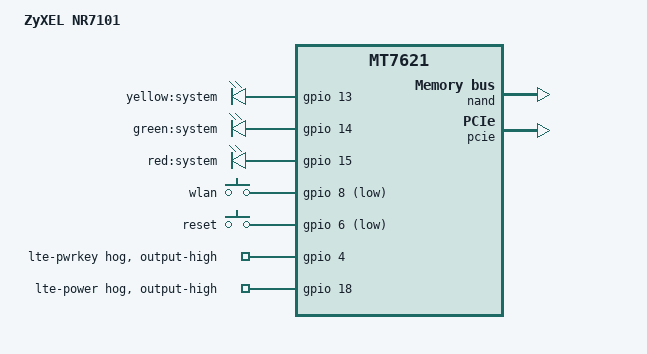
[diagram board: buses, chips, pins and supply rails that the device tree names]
// SPDX-License-Identifier: GPL-2.0-or-later OR MIT

#include "mt7621.dtsi"

#include <dt-bindings/gpio/gpio.h>
#include <dt-bindings/input/input.h>

/ {
	compatible = "zyxel,nr7101", "mediatek,mt7621-soc";
	model = "ZyXEL NR7101";

	aliases {
		led-boot = &led_system_green;
		led-failsafe = &led_system_green;
		led-running = &led_system_green;
		led-upgrade = &led_system_green;
		label-mac-device = &gmac0;
	};

	leds {
		compatible = "gpio-leds";

		system_yellow {
			label = "yellow:system";
			gpios = <&gpio 13 GPIO_ACTIVE_HIGH>;
		};

		led_system_green: system_green {
			label = "green:system";
			gpios = <&gpio 14 GPIO_ACTIVE_HIGH>;
		};

		system_red {
			label = "red:system";
			gpios = <&gpio 15 GPIO_ACTIVE_HIGH>;
		};
	};

	keys {
		compatible = "gpio-keys";

		wps {
			label = "wlan";
			gpios = <&gpio 8 GPIO_ACTIVE_LOW>;
			linux,code = <KEY_WLAN>;
		};

		reset {
			label = "reset";
			gpios = <&gpio 6 GPIO_ACTIVE_LOW>;
			linux,code = <KEY_RESTART>;
		};
	};
};

&gpio {
	lte_pwrkey {
		gpio-hog;
		gpios = <4 GPIO_ACTIVE_HIGH>;
		output-high;
		line-name = "lte-pwrkey";
	};

	lte_power {
		gpio-hog;
		gpios = <18 GPIO_ACTIVE_HIGH>;
		output-high;
		line-name = "lte-power";
	};
};

&nand {
	status = "okay";

	partitions {
		compatible = "fixed-partitions";
		#address-cells = <1>;
		#size-cells = <1>;

		partition@0 {
			label = "Bootloader";
			reg = <0x0 0x80000>;
			read-only;
		};

		partition@80000 {
			label = "Config";
			reg = <0x80000 0x80000>;
		};

		factory: partition@100000 {
			label = "Factory";
			reg = <0x100000 0x40000>;
			read-only;
		};

		partition@140000 {
			label = "Kernel";
			reg = <0x140000 0x1ec0000>;
		};

		partition@540000 {
			label = "ubi";
			reg = <0x540000 0x1ac0000>;
		};

		partition@2140000 {
			label = "Kernel2";
			reg = <0x2140000 0x1ec0000>;
		};

		partition@4000000 {
			label = "wwan";
			reg = <0x4000000 0x100000>;
		};

		partition@4100000 {
			label = "data";
			reg = <0x4100000 0x1000000>;
		};

		partition@5100000 {
			label = "rom-d";
			reg = <0x5100000 0x100000>;
			read-only;
		};

		partition@5200000 {
			label = "reserve";
			reg = <0x5200000 0x80000>;
		};
	};
};

&pcie {
	status = "okay";
};

&pcie0 {
	mt76@0,0 {
		reg = <0x0000 0 0 0 0>;
		mediatek,mtd-eeprom = <&factory 0x0>;
	};
};

&gmac0 {
	nvmem-cells = <&macaddr_factory_e000>;
	nvmem-cell-names = "mac-address";
};

&switch0 {
	ports {
		port@2 {
			status = "okay";
			label = "lan";
		};
	};
};

&state_default {
	gpio {
		groups = "i2c", "uart3", "jtag", "wdt";
		function = "gpio";
	};
};

&factory {
	compatible = "nvmem-cells";
	#address-cells = <1>;
	#size-cells = <1>;

	macaddr_factory_e000: macaddr@e000 {
		reg = <0xe000 0x6>;
	};
};
